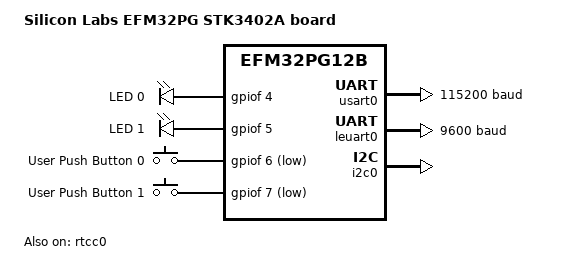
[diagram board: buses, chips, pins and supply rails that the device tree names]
/*
 * Copyright (c) 2017 Christian Taedcke
 *
 * SPDX-License-Identifier: Apache-2.0
 */

/dts-v1/;
#include <silabs/efm32pg12b500f1024gl125.dtsi>

/ {
	model = "Silicon Labs EFM32PG STK3402A board";
	compatible = "silabs,efm32pg_stk3402a", "silabs,efm32pg12b";

	chosen {
		zephyr,console = &usart0;
		zephyr,shell-uart = &usart0;
		zephyr,sram = &sram0;
		zephyr,flash = &flash0;
	};

	/* These aliases are provided for compatibility with samples */
	aliases {
		led0 = &led0;
		led1 = &led1;
		sw0 = &button0;
		sw1 = &button1;
	};

	leds {
		compatible = "gpio-leds";
		led0: led_0 {
			gpios = <&gpiof 4 0>;
			label = "LED 0";
		};
		led1: led_1 {
			gpios = <&gpiof 5 0>;
			label = "LED 1";
		};
	};

	buttons {
		compatible = "gpio-keys";
		button0: button_0 {
			/* gpio flags need validation */
			gpios = <&gpiof 6 GPIO_INT_ACTIVE_LOW>;
			label = "User Push Button 0";
		};
		button1: button_1 {
			/* gpio flags need validation */
			gpios = <&gpiof 7 GPIO_INT_ACTIVE_LOW>;
			label = "User Push Button 1";
		};
	};
};

&cpu0 {
	clock-frequency = <40000000>;
};

&usart0 {
	current-speed = <115200>;
	location-rx = <GECKO_LOCATION(0) GECKO_PORT_A GECKO_PIN(1)>;
	location-tx = <GECKO_LOCATION(0) GECKO_PORT_A GECKO_PIN(0)>;
	status = "okay";
};

&leuart0 {
	current-speed = <9600>;
	location-rx = <GECKO_LOCATION(18) GECKO_PORT_D GECKO_PIN(11)>;
	location-tx = <GECKO_LOCATION(18) GECKO_PORT_D GECKO_PIN(10)>;
	status = "okay";
};

&i2c0 {
	location-sda = <GECKO_LOCATION(15) GECKO_PORT_C GECKO_PIN(10)>;
	location-scl = <GECKO_LOCATION(15) GECKO_PORT_C GECKO_PIN(11)>;
	status = "okay";
};

&rtcc0 {
	prescaler = <1>;
	status = "okay";
};

&gpio {
	location-swo = <0>;
	status = "okay";
};

&flash0 {
	/*
	 * For more information, see:
	 * http://docs.zephyrproject.org/latest/guides/dts/index.html#flash-partitions
	 */
	partitions {
		compatible = "fixed-partitions";
		#address-cells = <1>;
		#size-cells = <1>;

		/* Set 4Kb of storage at the end of the 1024Kb of flash */
		storage_partition: partition@ff000 {
			label = "storage";
			reg = <0x000ff000 0x00001000>;
		};

	};
};
